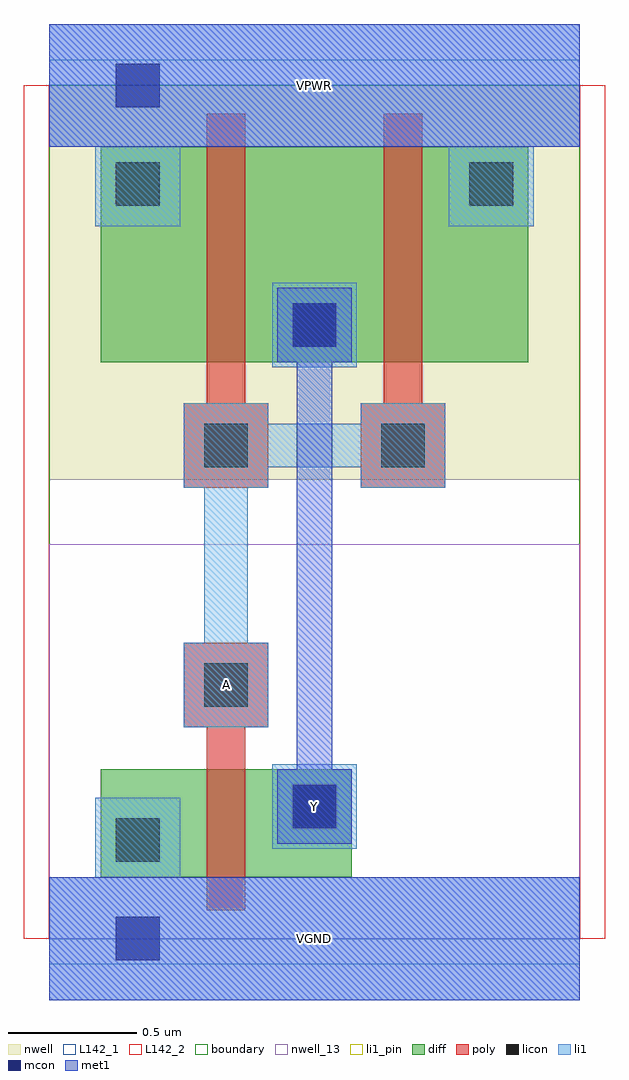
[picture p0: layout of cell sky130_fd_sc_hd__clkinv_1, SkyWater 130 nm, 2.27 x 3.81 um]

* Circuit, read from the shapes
.subckt sky130_fd_sc_hd__clkinv_1 A VGND VPWR Y
XM1 Y A VGND VSUBS sky130_fd_pr__nfet_01v8 w=0.42 l=0.15
XM2 Y A VPWR n1 sky130_fd_pr__pfet_01v8 w=0.84 l=0.15 m=2
.ends

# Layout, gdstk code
import gdstk
lib = gdstk.Library(unit=1e-6, precision=1e-09)
def R(c, l, rs):  # rectangles x0, y0, x1, y1
    for r in rs: c.add(gdstk.rectangle(r[:2], r[2:], *l))
def P(c, l, *ps):  # polygons
    for p in ps: c.add(gdstk.Polygon(p, *l))
nwell_13 = (64, 13)
nwell = (64, 20)
diff = (65, 20)
poly = (66, 20)
licon = (66, 44)
li1_pin = (67, 16)
li1 = (67, 20)
mcon = (67, 44)
met1 = (68, 20)
L142_1 = (142, 1)
L142_2 = (142, 2)
boundary = (235, 4)

sky130_fd_sc_hd__clkinv_ = lib.new_cell('sky130_fd_sc_hd__clkinv_1')
R(sky130_fd_sc_hd__clkinv_, nwell_13, [(0,0,2.07,1.54)])
R(sky130_fd_sc_hd__clkinv_, nwell, [(0,1.79,2.07,3.33)])
R(sky130_fd_sc_hd__clkinv_, diff, [(0.2,0.24,1.18,0.66), (0.2,0.24,0.615,0.66), (0.615,0.24,1.18,0.66), (0.2,2.25,1.87,3.09), (0.2,2.25,0.615,3.09), (0.615,2.25,1.305,3.09), (1.305,2.25,1.87,3.09)])
P(sky130_fd_sc_hd__clkinv_, poly, [(0.615,0.11),(0.615,0.825),(0.525,0.825),(0.525,1.155),(0.855,1.155),(0.855,0.825),(0.765,0.825),(0.765,0.11)],
  [(0.525,1.76),(0.525,2.09),(0.615,2.09),(0.615,3.22),(0.765,3.22),(0.765,2.09),(0.855,2.09),(0.855,1.76)],
  [(1.215,1.76),(1.215,2.09),(1.305,2.09),(1.305,3.22),(1.455,3.22),(1.455,2.09),(1.545,2.09),(1.545,1.76)])
R(sky130_fd_sc_hd__clkinv_, licon, [(0.26,0.3,0.43,0.47), (0.95,0.43,1.12,0.6), (0.605,0.905,0.775,1.075), (0.605,1.84,0.775,2.01), (1.295,1.84,1.465,2.01), (0.95,2.31,1.12,2.48), (0.26,2.86,0.43,3.03), (1.64,2.86,1.81,3.03)])
R(sky130_fd_sc_hd__clkinv_, li1_pin, [(0,-0.24,2.07,0.24), (0.87,0.35,1.2,0.68), (0,3.09,2.07,3.57)])
P(sky130_fd_sc_hd__clkinv_, li1_pin, [(0.525,0.825),(0.525,1.155),(0.605,1.155),(0.605,1.76),(0.525,1.76),(0.525,2.09),(0.855,2.09),(0.855,2.01),(1.215,2.01),(1.215,2.09),(1.545,2.09),(1.545,1.76),(1.215,1.76),(1.215,1.84),(0.855,1.84),(0.855,1.76),(0.775,1.76),(0.775,1.155),(0.855,1.155),(0.855,0.825)])
R(sky130_fd_sc_hd__clkinv_, li1, [(0.87,0.35,1.2,0.68), (0.87,2.23,1.2,2.56)])
P(sky130_fd_sc_hd__clkinv_, li1, [(0.18,2.78),(0.18,3.09),(0,3.09),(0,3.57),(2.07,3.57),(2.07,3.09),(1.89,3.09),(1.89,2.78),(1.56,2.78),(1.56,3.09),(0.51,3.09),(0.51,2.78)],
  [(0,-0.24),(0,0.24),(0.18,0.24),(0.18,0.55),(0.51,0.55),(0.51,0.24),(2.07,0.24),(2.07,-0.24)],
  [(0.525,0.825),(0.525,1.155),(0.605,1.155),(0.605,1.76),(0.525,1.76),(0.525,2.09),(0.855,2.09),(0.855,2.01),(1.215,2.01),(1.215,2.09),(1.545,2.09),(1.545,1.76),(1.215,1.76),(1.215,1.84),(0.855,1.84),(0.855,1.76),(0.775,1.76),(0.775,1.155),(0.855,1.155),(0.855,0.825)])
R(sky130_fd_sc_hd__clkinv_, mcon, [(0.26,-0.085,0.43,0.085), (0.95,0.43,1.12,0.6), (0.95,2.31,1.12,2.48), (0.26,3.245,0.43,3.415)])
R(sky130_fd_sc_hd__clkinv_, met1, [(0,-0.24,2.07,0.24), (0,3.09,2.07,3.57)])
P(sky130_fd_sc_hd__clkinv_, met1, [(0.89,0.37),(0.89,0.66),(0.965,0.66),(0.965,2.25),(0.89,2.25),(0.89,2.54),(1.18,2.54),(1.18,2.25),(1.105,2.25),(1.105,0.66),(1.18,0.66),(1.18,0.37)])
R(sky130_fd_sc_hd__clkinv_, L142_1, [(0,-0.1,2.07,0), (0,3.33,2.07,3.43)])
R(sky130_fd_sc_hd__clkinv_, L142_2, [(-0.1,0,0,3.33), (2.07,0,2.17,3.33)])
R(sky130_fd_sc_hd__clkinv_, boundary, [(0,0,2.07,3.33)])
sky130_fd_sc_hd__clkinv_.add(gdstk.Label('Y', (1.035,0.515), layer=67, texttype=5))
sky130_fd_sc_hd__clkinv_.add(gdstk.Label('A', (0.69,0.99), layer=67, texttype=5))
sky130_fd_sc_hd__clkinv_.add(gdstk.Label('VGND', (1.035,0), layer=67, texttype=5))
sky130_fd_sc_hd__clkinv_.add(gdstk.Label('VPWR', (1.035,3.33), layer=67, texttype=5))
sky130_fd_sc_hd__clkinv_.add(gdstk.Label('VGND', (1.035,0), layer=68, texttype=5))
sky130_fd_sc_hd__clkinv_.add(gdstk.Label('VPWR', (1.035,3.33), layer=68, texttype=5))

lib.write_gds('sky130_fd_sc_hd__clkinv_1.gds')
